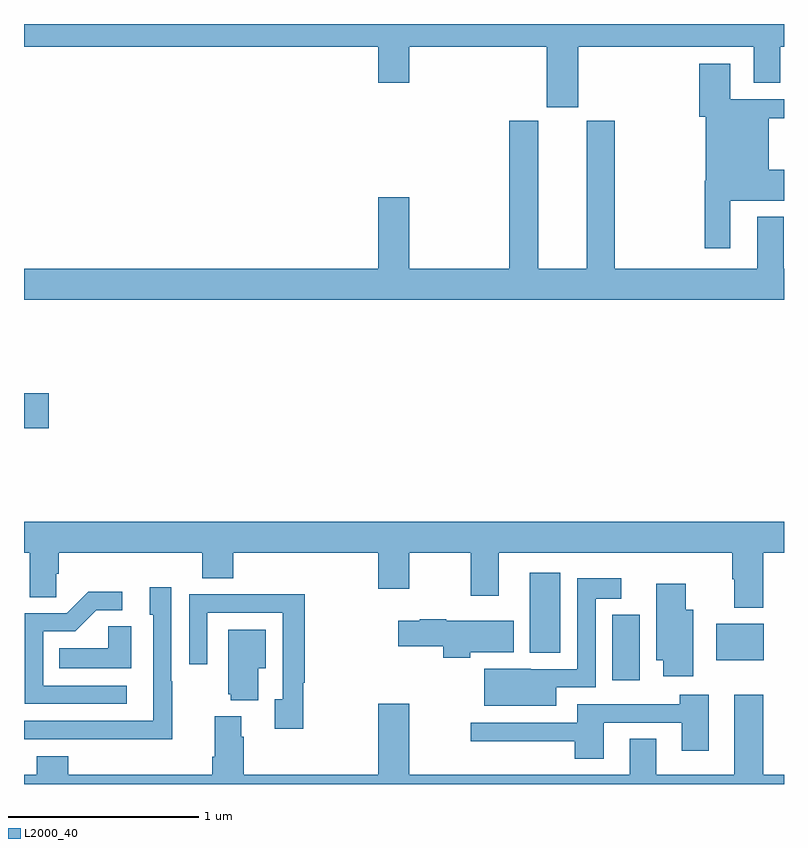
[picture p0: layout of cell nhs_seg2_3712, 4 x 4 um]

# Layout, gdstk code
import gdstk
lib = gdstk.Library(unit=1e-6, precision=1e-09)
def R(c, l, rs):  # rectangles x0, y0, x1, y1
    for r in rs: c.add(gdstk.rectangle(r[:2], r[2:], *l))
def P(c, l, *ps):  # polygons
    for p in ps: c.add(gdstk.Polygon(p, *l))
L2000_40 = (2000, 40)

nhs_seg2_3712 = lib.new_cell('nhs_seg2_3712')
R(nhs_seg2_3712, L2000_40, [(310.097,600.345,310.24,600.691), (310.643,600.452,310.894,600.643), (309.662,600.491,309.823,600.913), (307,601.673,307.129,601.856)])
P(nhs_seg2_3712, L2000_40, [(307,603.68),(308.864,603.68),(308.864,603.492),(309.028,603.492),(309.028,603.68),(309.752,603.68),(309.752,603.363),(309.916,603.363),(309.916,603.68),(310.841,603.68),(310.841,603.49),(310.981,603.49),(310.981,603.68),(311,603.68),(311,603.8),(307,603.8)],
  [(310.717,602.87),(311,602.87),(311,603.034),(310.921,603.034),(310.921,603.304),(311,603.304),(311,603.405),(310.717,603.405),(310.717,603.592),(310.553,603.592),(310.553,603.312),(310.589,603.312),(310.589,602.974),(310.582,602.974),(310.582,602.619),(310.717,602.619)],
  [(311,602.512),(310.999,602.512),(310.999,602.785),(310.859,602.785),(310.859,602.512),(310.11,602.512),(310.11,603.291),(309.962,603.291),(309.962,602.512),(309.706,602.512),(309.706,603.291),(309.554,603.291),(309.554,602.512),(309.028,602.512),(309.028,602.887),(308.864,602.887),(308.864,602.512),(307,602.512),(307,602.348),(311,602.348)],
  [(310.892,601.016),(311,601.016),(311,601.18),(307,601.18),(307,601.016),(307.031,601.016),(307.031,600.784),(307.17,600.784),(307.17,600.907),(307.184,600.907),(307.184,601.016),(307.937,601.016),(307.937,600.883),(308.102,600.883),(308.102,601.016),(308.864,601.016),(308.864,600.828),(309.028,600.828),(309.028,601.016),(309.352,601.016),(309.352,600.792),(309.499,600.792),(309.499,601.016),(310.727,601.016),(310.727,600.878),(310.739,600.878),(310.739,600.728),(310.892,600.728)],
  [(309.802,600.309),(310.008,600.309),(310.008,600.776),(310.144,600.776),(310.144,600.883),(309.912,600.883),(309.912,600.405),(309.666,600.405),(309.666,600.406),(309.422,600.406),(309.422,600.212),(309.802,600.212)],
  [(310.522,600.718),(310.483,600.718),(310.483,600.853),(310.328,600.853),(310.328,600.452),(310.364,600.452),(310.364,600.366),(310.522,600.366)],
  [(307.779,600.341),(307.776,600.341),(307.776,600.835),(307.661,600.835),(307.661,600.69),(307.68,600.69),(307.68,600.132),(307,600.132),(307,600.036),(307.315,600.036),(307.315,600.035),(307.779,600.035)],
  [(307.54,600.318),(307.101,600.318),(307.101,600.603),(307.27,600.603),(307.381,600.714),(307.516,600.714),(307.516,600.812),(307.337,600.812),(307.224,600.699),(307.005,600.699),(307.005,600.222),(307.54,600.222)],
  [(308.47,600.334),(308.477,600.334),(308.477,600.8),(308.185,600.8),(308.185,600.798),(307.869,600.798),(307.869,600.429),(307.965,600.429),(307.965,600.702),(308.361,600.702),(308.361,600.246),(308.321,600.246),(308.321,600.09),(308.47,600.09)],
  [(309.348,600.494),(309.577,600.494),(309.577,600.658),(309.222,600.658),(309.222,600.666),(309.082,600.666),(309.082,600.658),(308.97,600.658),(308.97,600.524),(309.206,600.524),(309.206,600.464),(309.348,600.464)],
  [(307.564,600.629),(307.443,600.629),(307.443,600.514),(307.186,600.514),(307.186,600.41),(307.564,600.41)],
  [(308.233,600.41),(308.272,600.41),(308.272,600.613),(308.075,600.613),(308.075,600.273),(308.087,600.273),(308.087,600.242),(308.233,600.242)],
  [(310.051,600.123),(310.463,600.123),(310.463,599.976),(310.603,599.976),(310.603,600.271),(310.451,600.271),(310.451,600.219),(309.911,600.219),(309.911,600.123),(309.351,600.123),(309.351,600.026),(309.899,600.026),(309.899,599.934),(310.051,599.934)],
  [(311,599.848),(310.892,599.848),(310.892,600.271),(310.739,600.271),(310.739,599.848),(310.327,599.848),(310.327,600.038),(310.187,600.038),(310.187,599.848),(309.028,599.848),(309.028,600.223),(308.864,600.223),(308.864,599.848),(308.156,599.848),(308.156,600.05),(308.143,600.05),(308.143,600.157),(308.003,600.157),(308.003,599.944),(307.991,599.944),(307.991,599.848),(307.232,599.848),(307.232,599.947),(307.067,599.947),(307.067,599.848),(307,599.848),(307,599.8),(311,599.8)])

lib.write_gds('nhs_seg2_3712.gds')
